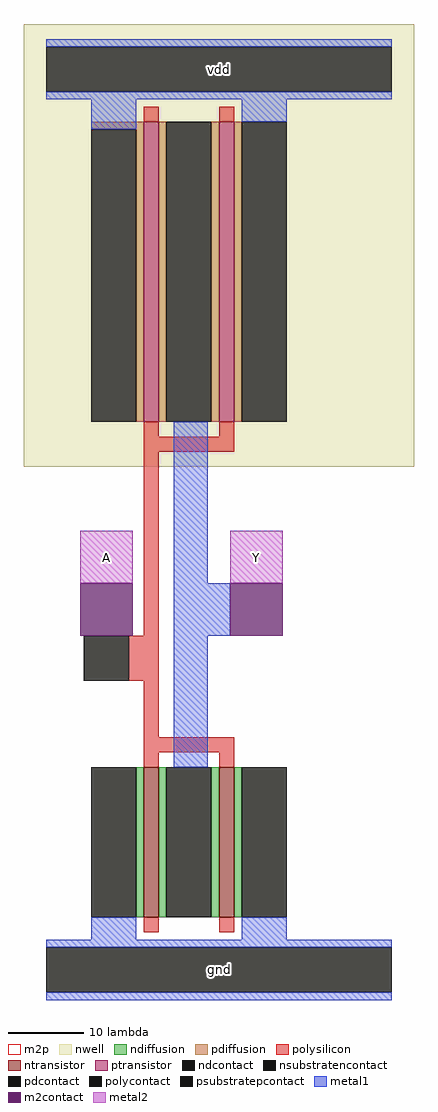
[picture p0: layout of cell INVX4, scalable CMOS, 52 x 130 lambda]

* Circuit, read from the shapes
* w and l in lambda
.subckt INVX4 A Y vdd gnd
M1 Y A gnd gnd nfet w=20 l=2 m=2
M2 Y A vdd vdd pfet w=40 l=2 m=2
.ends

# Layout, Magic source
magic
tech scmos
magscale 1 2
<< nwell >>
rect -12 134 92 252
<< ntransistor >>
rect 20 14 24 54
rect 40 14 44 54
<< ptransistor >>
rect 20 146 24 226
rect 40 146 44 226
<< ndiffusion >>
rect 18 14 20 54
rect 24 14 26 54
rect 38 14 40 54
rect 44 14 46 54
<< pdiffusion >>
rect 6 224 20 226
rect 18 146 20 224
rect 24 146 26 226
rect 38 146 40 226
rect 44 146 46 226
<< ndcontact >>
rect 6 14 18 54
rect 26 14 38 54
rect 46 14 58 54
<< pdcontact >>
rect 6 146 18 224
rect 26 146 38 226
rect 46 146 58 226
<< psubstratepcontact >>
rect -6 -6 86 6
<< nsubstratencontact >>
rect -6 234 86 246
<< polysilicon >>
rect 20 226 24 230
rect 40 226 44 230
rect 20 142 24 146
rect 40 142 44 146
rect 20 138 44 142
rect 20 89 24 138
rect 16 77 24 89
rect 20 62 24 77
rect 20 58 44 62
rect 20 54 24 58
rect 40 54 44 58
rect 20 10 24 14
rect 40 10 44 14
<< polycontact >>
rect 4 77 16 89
<< metal1 >>
rect -6 246 86 248
rect -6 232 86 234
rect 6 224 18 232
rect 46 226 58 232
rect 28 103 37 146
rect 28 89 43 103
rect 28 54 37 89
rect 6 8 18 14
rect 46 8 58 14
rect -6 6 86 8
rect -6 -8 86 -6
<< m2contact >>
rect 3 89 17 103
rect 43 89 57 103
<< metal2 >>
rect 3 103 17 117
rect 43 103 57 117
<< m2p >>
rect 3 103 17 117
rect 43 103 57 117
<< labels >>
rlabel metal1 -6 -8 86 8 0 gnd
port 3 nsew ground bidirectional abutment
rlabel metal1 -6 232 86 248 0 vdd
port 2 nsew power bidirectional abutment
rlabel metal2 3 103 17 117 0 A
port 0 nsew signal input
rlabel metal2 43 103 57 117 0 Y
port 1 nsew signal output
<< properties >>
string FIXED_BBOX 0 0 80 240
string LEFclass CORE
string LEFsite core
string LEFsymmetry X Y
<< end >>
